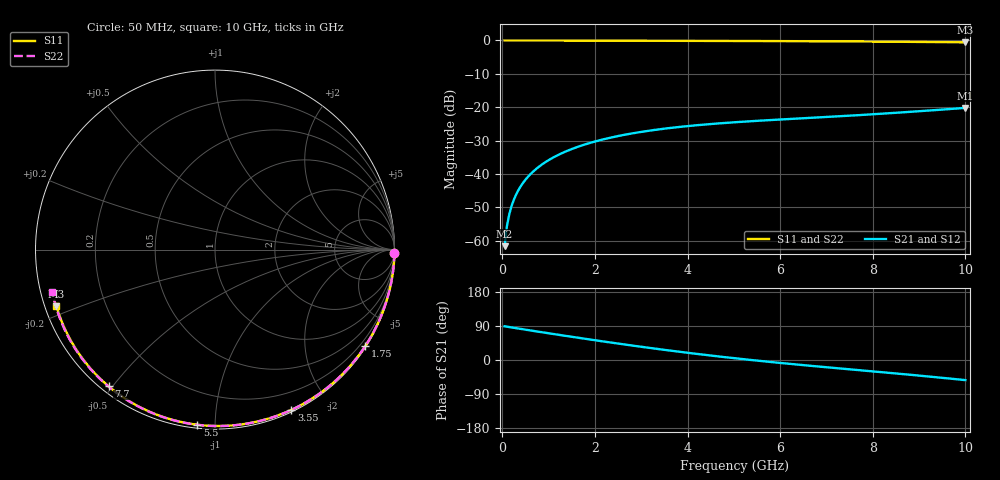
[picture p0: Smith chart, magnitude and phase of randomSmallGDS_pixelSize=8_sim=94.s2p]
! freq	dB(S11)	phase(S11)	dB(S12)	phase(S12)
!  dB(S21)	phase(S21)	dB(S22)	phase(S22)
!S-par simulation data
#  GHz  S  DB  R 50
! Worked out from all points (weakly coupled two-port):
!   200 points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, 50 MHz to 10 GHz, reference 50 ohm
!   highest |S21| = -20.22 dB at 10 GHz (marker M1); lowest = -61.7 dB at 50 MHz (marker M2)
!   lowest |S11| = -0.6 dB at 10 GHz (marker M3), VSWR 31.20, Z = 1.65 - j8.65 ohm
!   |S11| at or under -10 dB: nowhere
!   |S22| runs from -0.6 to 0.0 dB; largest |S21 - S12| = 0
!   S11 on the Smith chart (normalised r, x): 50 MHz: open; 1.75 GHz: 0.03, -3.40; 3.55 GHz: 0.02, -1.58; 5.5 GHz: 0.02, -0.90; 7.7 GHz: 0.02, -0.49; 10 GHz: 0.03, -0.17
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0.05  -0.00 -1.0  -61.68 89.0  -61.68 89.0  -0.00 -1.0
0.1  -0.00 -1.9  -55.66 88.0  -55.66 88.0  -0.00 -2.0
0.15  -0.00 -2.9  -52.15 87.0  -52.15 87.0  -0.00 -3.0
0.2  -0.00 -3.8  -49.65 85.9  -49.65 85.9  -0.00 -4.0
0.25  -0.00 -4.8  -47.72 84.9  -47.72 84.9  -0.00 -4.9
0.35  -0.01 -6.7  -44.82 83.0  -44.82 83.0  -0.01 -6.9
0.5  -0.01 -9.5  -41.76 80.0  -41.76 80.0  -0.01 -9.8
0.7  -0.02 -13.3  -38.89 76.2  -38.89 76.2  -0.02 -13.7
1  -0.02 -18.9  -35.89 70.5  -35.89 70.5  -0.03 -19.6
1.35  -0.03 -25.5  -33.41 64.0  -33.41 64.0  -0.04 -26.3
1.75  -0.04 -32.8  -31.33 56.6  -31.33 56.6  -0.05 -33.9
2.6  -0.07 -48.1  -28.38 41.6  -28.38 41.6  -0.07 -49.6
3.4  -0.09 -62.0  -26.62 28.3  -26.62 28.3  -0.09 -63.9
3.55  -0.09 -64.5  -26.36 26.0  -26.36 26.0  -0.10 -66.5
4.3  -0.12 -76.9  -25.29 14.6  -25.29 14.6  -0.12 -79.2
5.05  -0.15 -88.8  -24.50 4.2  -24.50 4.2  -0.15 -91.5
5.5  -0.17 -95.8  -24.10 -1.6  -24.10 -1.6  -0.17 -98.6
6.7  -0.23 -113.6  -23.17 -15.8  -23.17 -15.8  -0.24 -116.9
7.7  -0.31 -127.9  -22.39 -26.8  -22.39 -26.8  -0.32 -131.7
8.35  -0.37 -137.1  -21.83 -33.8  -21.83 -33.8  -0.38 -141.1
9.2  -0.46 -149.0  -21.03 -43.5  -21.03 -43.5  -0.47 -153.5
10  -0.56 -160.3  -20.22 -53.1  -20.22 -53.1  -0.57 -165.3
